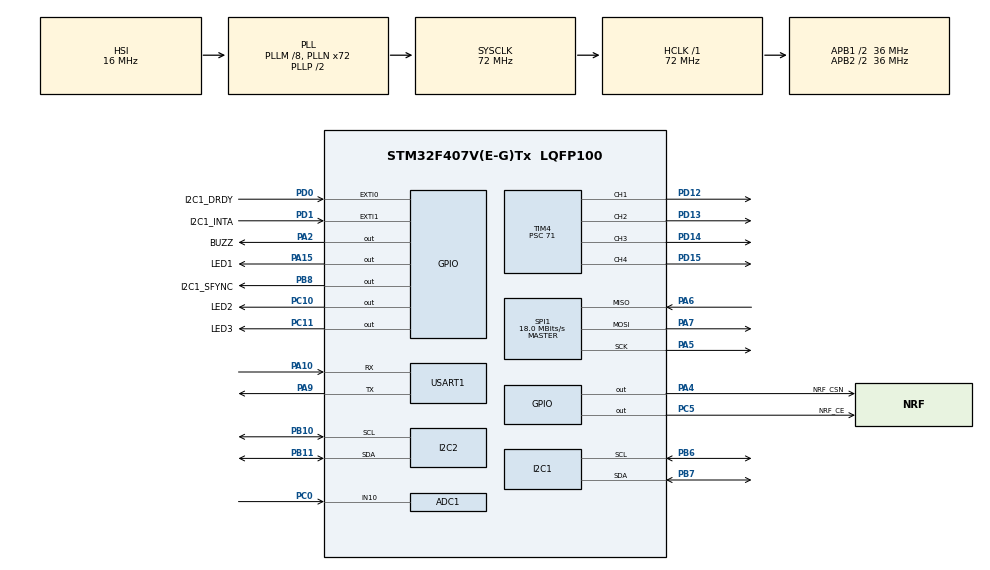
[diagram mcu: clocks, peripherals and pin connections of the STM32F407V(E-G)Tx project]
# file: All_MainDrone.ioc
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ADC1.Channel-0\#ChannelRegularConversion=ADC_CHANNEL_10
ADC1.NbrOfConversionFlag=1
ADC1.Rank-0\#ChannelRegularConversion=1
ADC1.SamplingTime-0\#ChannelRegularConversion=ADC_SAMPLETIME_3CYCLES
ADC1.master=1
I2C1.I2C_Mode=I2C_Fast
I2C2.I2C_Mode=I2C_Fast
Mcu.Family=STM32F4
Mcu.Name=STM32F407V(E-G)Tx
Mcu.Package=LQFP100
NVIC.PriorityGroup=NVIC_PRIORITYGROUP_4
PA10.Mode=Asynchronous
PA10.Signal=USART1_RX
PA13.Mode=Serial_Wire
PA13.Signal=SYS_JTMS-SWDIO
PA14.Mode=Serial_Wire
PA14.Signal=SYS_JTCK-SWCLK
PA15.GPIO_Label=LED1
PA15.Signal=GPIO_Output
PA2.GPIO_Label=BUZZ
PA2.Signal=GPIO_Output
PA4.GPIO_Label=NRF_CSN
PA4.Signal=GPIO_Output
PA5.Mode=Full_Duplex_Master
PA5.Signal=SPI1_SCK
PA6.Mode=Full_Duplex_Master
PA6.Signal=SPI1_MISO
PA7.Mode=Full_Duplex_Master
PA7.Signal=SPI1_MOSI
PA9.Mode=Asynchronous
PA9.Signal=USART1_TX
PB10.Mode=I2C
PB10.Signal=I2C2_SCL
PB11.Mode=I2C
PB11.Signal=I2C2_SDA
PB6.Mode=I2C
PB6.Signal=I2C1_SCL
PB7.Mode=I2C
PB7.Signal=I2C1_SDA
PB8.GPIO_Label=I2C1_SFYNC
PB8.Signal=GPIO_Output
PC0.Signal=ADCx_IN10
PC10.GPIO_Label=LED2
PC10.Signal=GPIO_Output
PC11.GPIO_Label=LED3
PC11.Signal=GPIO_Output
PC5.GPIO_Label=NRF_CE
PC5.Signal=GPIO_Output
PD0.GPIO_Label=I2C1_DRDY
PD0.Signal=GPXTI0
PD1.GPIO_Label=I2C1_INTA
PD1.Signal=GPXTI1
PD12.Signal=S_TIM4_CH1
PD13.Signal=S_TIM4_CH2
PD14.Signal=S_TIM4_CH3
PD15.Signal=S_TIM4_CH4
PH0-OSC_IN.Mode=HSE-External-Oscillator
PH0-OSC_IN.Signal=RCC_OSC_IN
PH1-OSC_OUT.Mode=HSE-External-Oscillator
PH1-OSC_OUT.Signal=RCC_OSC_OUT
ProjectManager.HeapSize=0x200
ProjectManager.StackSize=0x400
ProjectManager.TargetToolchain=STM32CubeIDE
RCC.48MHZClocksFreq_Value=36000000
RCC.AHBFreq_Value=72000000
RCC.APB1CLKDivider=RCC_HCLK_DIV2
RCC.APB1Freq_Value=36000000
RCC.APB1TimFreq_Value=72000000
RCC.APB2CLKDivider=RCC_HCLK_DIV2
RCC.APB2Freq_Value=36000000
RCC.APB2TimFreq_Value=72000000
RCC.CortexFreq_Value=72000000
RCC.HCLKFreq_Value=72000000
RCC.HSE_VALUE=25000000
RCC.HSI_VALUE=16000000
RCC.LSE_VALUE=32768
RCC.PLLM=8
RCC.PLLN=72
RCC.SYSCLKFreq_VALUE=72000000
RCC.SYSCLKSource=RCC_SYSCLKSOURCE_PLLCLK
RCC.VCOOutputFreq_Value=144000000
SH.ADCx_IN10.0=ADC1_IN10,IN10
SH.S_TIM4_CH1.0=TIM4_CH1,PWM Generation1 CH1
SH.S_TIM4_CH2.0=TIM4_CH2,PWM Generation2 CH2
SH.S_TIM4_CH3.0=TIM4_CH3,PWM Generation3 CH3
SH.S_TIM4_CH4.0=TIM4_CH4,PWM Generation4 CH4
SPI1.CalculateBaudRate=18.0 MBits/s
SPI1.Direction=SPI_DIRECTION_2LINES
SPI1.Mode=SPI_MODE_MASTER
SPI1.VirtualType=VM_MASTER
TIM4.Channel-PWM\ Generation1\ CH1=TIM_CHANNEL_1
TIM4.Channel-PWM\ Generation2\ CH2=TIM_CHANNEL_2
TIM4.Channel-PWM\ Generation3\ CH3=TIM_CHANNEL_3
TIM4.Channel-PWM\ Generation4\ CH4=TIM_CHANNEL_4
TIM4.Prescaler=71
USART1.VirtualMode=VM_ASYNC
VP_TIM4_VS_ClockSourceINT.Mode=Internal
board=custom

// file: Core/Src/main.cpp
/* USER CODE BEGIN Header */
/**
  ******************************************************************************
  * @file           : main.c
  * @brief          : Main program body
  ******************************************************************************
  * @attention
  *
  * Copyright (c) 2025 STMicroelectronics.
  * All rights reserved.
  *
  * This software is licensed under terms that can be found in the LICENSE file
  * in the root directory of this software component.
  * If no LICENSE file comes with this software, it is provided AS-IS.
  *
  ******************************************************************************
  */
/* USER CODE END Header */
#include "main.h"

/* USER CODE BEGIN Includes */
#include "NRF24.h"
#include "BMP180.h"

#include "IMU9DOF.h"
#include "math.h"
#include "flash.h"
#include "stdio.h"

#include "barometer.h"
#include "GPS.h"
#include "PIDHorizontal.h"

#include "dwt_stm32_delay.h"
#include "MySerial.h"

/* USER CODE END Includes */

/* USER CODE BEGIN PD */
#define CHANGE_SPEED_MOTOR_FRONT_RIGHT_CCW(speedVal)   	htim4.Instance->CCR1=speedVal
#define CHANGE_SPEED_MOTOR_REAR_RIGHT_CW(speedVal)   	htim4.Instance->CCR2=speedVal
#define CHANGE_SPEED_MOTOR_REAR_LEFT_CCW(speedVal)  	htim4.Instance->CCR3=speedVal
#define CHANGE_SPEED_MOTOR_FRONT_LEFT_CW(speedVal)   	htim4.Instance->CCR4=speedVal
/* USER CODE END PD */

ADC_HandleTypeDef hadc1;

I2C_HandleTypeDef hi2c1;
I2C_HandleTypeDef hi2c2;

SPI_HandleTypeDef hspi1;

TIM_HandleTypeDef htim4;

UART_HandleTypeDef huart1;

/* USER CODE BEGIN PV */

uint8_t RxAddress[] = {0x00,0xDD,0xCC,0xBB,0xAA};
uint8_t RxData[32], stateThrottle=255;
float x=0, DoCao,NhietDo;

int16_t escFrontRightCCW, escRearRightCW, escRearLeftCCW, escFrontLeftCW;
uint16_t roll, pitch, yaw , throttle=1200;

// Các biến liên quan đến trạng thái hoạt động của drone
uint8_t flightMode;
uint8_t waypointSet;
uint8_t takeoffDetected;
uint8_t stateMachine=0;
uint8_t error;

int Start=0, BTN6 =0, BTN5=0, BTN4=0,BTN3=0, BTN2=0, BTN1=0, FirstBTN4=0,FirstBTN3=0, BTNFlightMode=0,FirtsMachine0=0;

uint16_t notificationCount;
// Todo
int16_t Throttle;
float groundPressure;
int16_t takeoffThrottle;
int16_t idleSpeedMotor = 1200;  // tốc độ động cơ không bay
int16_t  manualTakeoffThrottle= 1500;  // Tốc độ cất cánh
uint16_t time =0, time1 =0;

IMU9DOF gy86(&hi2c1,11, 0x080E0000);
Barometer ms5611(&hi2c1);
GPS gpsM8N(LED1_GPIO_Port, LED1_Pin);  // led kiểm tra trạng thái kết nối của GPS
PID_Horizontal pidForHorizontal;

void ReceiveDataFromNRF24L01();
void ReadDataFromBMP180();
void StartStopTakeOff(void);
void ChangeSetting(void);

/* USER CODE END PV */

void SystemClock_Config(void);
static void MX_GPIO_Init(void);
static void MX_TIM4_Init(void);
static void MX_USART1_UART_Init(void);
static void MX_I2C1_Init(void);
static void MX_SPI1_Init(void);
static void MX_ADC1_Init(void);
static void MX_I2C2_Init(void);

/* USER CODE BEGIN 0 */
void ReceiveDataFromNRF24L01()
{
	// bấm BTN5 thì headingLock =1
	// bấm nút BTN1 , flightMode = 2, Bấm BTN6 thì FlightMode =3;
	if(isDataAvailable(2)==1)
	  {
		  NRF24_Receive(RxData);
		  HAL_GPIO_WritePin(LED3_GPIO_Port, LED3_Pin,GPIO_PIN_SET);

		  if(RxData[0]==1) //  Trai Len , Tang Do Cao
			{
			    stateThrottle =1;
				throttle = throttle + 2;
				if(throttle > 1800)  throttle = 1800;
			}
			else if(RxData[0]==0) // Trai Xuong , Giam Do Cao
			{
				stateThrottle=0;
				throttle =throttle - 2;
				if(throttle < 1000)  throttle = 1000;
			}
			else
			{
				stateThrottle = 255;
			}
		    yaw = RxData[1]*100 + RxData[2];
			roll = RxData[3]*100 + RxData[4];
			pitch = RxData[5]*100 + RxData[6];

			if(RxData[7] == 2) flightMode =2;
			else if(RxData[7] == 3) flightMode =3;
			else flightMode=1;

			BTN2 = RxData[8];
			BTN3 = RxData[9];
			BTN4 = RxData[10];
			BTN5 = RxData[11];
	  }
	else
	{
		if(takeoffDetected == 1)
		{
			 throttle =throttle - 0.1;
			 if(throttle < 1300) throttle= 1300;
			 yaw = 1473;
			 roll = 1490;
			 pitch = 1478;
			 stateThrottle = 0;
		}
		 HAL_GPIO_WritePin(LED3_GPIO_Port, LED3_Pin, GPIO_PIN_RESET);

	}
}
void ReadDataFromBMP180()
{
	DoCao = BMP180_GetAlt(0);
//	NhietDo = BMP180_GetTemp();
}

void ChangeSetting()
{
	//TODO nhay den bao hieu
	float adjustableRollPitchValuePgain = pidForHorizontal.roll.Pgain;
	float adjustableRollPitchValueIgain = pidForHorizontal.roll.Igain;
	float adjustableRollPitchValueDgain = pidForHorizontal.roll.Dgain;

	float adjustableYawValuePgain = pidForHorizontal.yaw.Pgain;
	float adjustableYawValueIgain = pidForHorizontal.yaw.Igain;
	float adjustableYawValueDgain = pidForHorizontal.yaw.Dgain;

	float adjustableAltitudeValuePgain = ms5611.pid_Pgain_Altitude;
	float adjustableAltitudeValueIgain = ms5611.pid_Igain_Altitude;
	float adjustableAltitudeValueDgain = ms5611.pid_Dgain_Altitude;

	for(int i=1;i<=5;i++)
	{
		DWT_Delay_us(4000);

			if (roll > 1550) adjustableRollPitchValuePgain += (float)(roll - 1550) * 0.000001;
			if (roll < 1450) adjustableRollPitchValuePgain -= (float)(1450 - roll) * 0.000001;
			if (adjustableRollPitchValuePgain < 0)adjustableRollPitchValuePgain = 0;
			pidForHorizontal.roll.Pgain = adjustableRollPitchValuePgain;
			pidForHorizontal.pitch.Pgain = adjustableRollPitchValuePgain;

			if (pitch > 1550)adjustableRollPitchValueIgain += (float)(pitch - 1550) * 0.000001;
			if (pitch < 1450)adjustableRollPitchValueIgain -= (float)(1450 - pitch) * 0.000001;
			if (adjustableRollPitchValueIgain < 0)adjustableRollPitchValueIgain = 0;
			pidForHorizontal.roll.Igain = adjustableRollPitchValueIgain;
			pidForHorizontal.pitch.Igain = adjustableRollPitchValueIgain;

			if (yaw > 1550)adjustableRollPitchValueDgain += (float)(yaw - 1550) * 0.000001;
			if (yaw < 1450)adjustableRollPitchValueDgain -= (float)(1450 - yaw) * 0.000001;
			if (adjustableRollPitchValueDgain < 0)adjustableRollPitchValueDgain = 0;
			pidForHorizontal.roll.Dgain = adjustableRollPitchValueDgain;
			pidForHorizontal.pitch.Dgain = adjustableRollPitchValueDgain;

			///////////////////////////////////////////////////

			if (roll > 1550) adjustableYawValuePgain += (float)(roll - 1550) * 0.000001;
			if (roll < 1450) adjustableYawValuePgain -= (float)(1450 - roll) * 0.000001;
			if (adjustableYawValuePgain < 0)adjustableYawValuePgain = 0;
			pidForHorizontal.yaw.Pgain = adjustableYawValuePgain;

			if (pitch > 1550)adjustableYawValueIgain += (float)(pitch - 1550) * 0.000001;
			if (pitch < 1450)adjustableYawValueIgain -= (float)(1450 - pitch) * 0.000001;
			if (adjustableYawValueIgain < 0)adjustableYawValueIgain = 0;
			pidForHorizontal.yaw.Igain = adjustableYawValueIgain;

			if (yaw > 1550)adjustableYawValueDgain += (float)(yaw - 1550) * 0.000001;
			if (yaw < 1450)adjustableYawValueDgain -= (float)(1450 - yaw) * 0.000001;
			if (adjustableYawValueDgain < 0)adjustableYawValueDgain = 0;
			pidForHorizontal.yaw.Dgain = adjustableYawValueDgain;

			////////////////////////////////////////////////////

			if (roll > 1550) adjustableAltitudeValuePgain += (float)(roll - 1550) * 0.000001;
			if (roll < 1450) adjustableAltitudeValuePgain -= (float)(1450 - roll) * 0.000001;
			if (adjustableAltitudeValuePgain < 0)adjustableAltitudeValuePgain = 0;
			ms5611.pid_Pgain_Altitude = adjustableAltitudeValuePgain;

			if (pitch > 1550)adjustableAltitudeValueIgain += (float)(pitch - 1550) * 0.000001;
			if (pitch < 1450)adjustableAltitudeValueIgain -= (float)(1450 - pitch) * 0.000001;
			if (adjustableAltitudeValueIgain < 0)adjustableAltitudeValueIgain = 0;
			ms5611.pid_Igain_Altitude = adjustableAltitudeValueIgain;

			if (yaw > 1550)adjustableAltitudeValueDgain += (float)(yaw - 1550) * 0.000001;
			if (yaw < 1450)adjustableAltitudeValueDgain -= (float)(1450 - yaw) * 0.000001;
			if (adjustableAltitudeValueDgain < 0)adjustableAltitudeValueDgain = 0;
			ms5611.pid_Dgain_Altitude = adjustableAltitudeValueDgain;

	}
}

void StartStopTakeOff(void)
{
	//TODO Bước 1 là nhấn nút BTN5 để bật cơ headingLock;
	// Bước 2 nhấn nút BTN4 để bật stateMachine = 1 ;
	// Bước 3 nhấn nút BTN3
	if ((BTN4 == 1) && (FirstBTN4==0))
	{
		FirstBTN4=1;
		stateMachine = 1;
	}

	// Bước 3 nhấn nút BTN3
	if ((stateMachine == 1) && (BTN3 == 1) && (FirstBTN3==0) )
	{
		FirstBTN3=1;
		// Thiết lập throttle value về giá trị idle motor speed
		Throttle = idleSpeedMotor;

		// Giá trị góc Roll và Pitch khởi điểm sẽ được tính toán chỉ dựa trên accel
		gy86.anglePitch = gy86.anglePitchAccel;
		gy86.angleRoll = gy86.angleRollAccel;

		// Lấy giá trị áp suất tại mặt đất, để tham chiếu cho sau này
		groundPressure = ms5611.GetActualPressure();

		gy86.courseLockHeading = gy86.angleYaw;

		gy86.accelTotalVectorAtStart = gy86.accelTotalVector;

		stateMachine = 2;
		gy86.accelAltIntegrated = 0;
		if ((manualTakeoffThrottle > 1400) && (manualTakeoffThrottle < 1600))  // Tốc độ cất cánh 1500
		{
			takeoffThrottle = 300;
			// Thiết lập cờ takeoffDetected để chỉ ra rằng quadcopter đang bay
			takeoffDetected = 1;
			//Reset PID để việc cất cánh được smooth hơn
			pidForHorizontal.roll.ImemValue = 0;
			pidForHorizontal.roll.previousError = 0;
			pidForHorizontal.roll.outputValue = 0;
			pidForHorizontal.pitch.ImemValue = 0;
			pidForHorizontal.pitch.previousError = 0;
			pidForHorizontal.pitch.outputValue = 0;
			pidForHorizontal.yaw.ImemValue = 0;
			pidForHorizontal.yaw.previousError = 0;
			pidForHorizontal.yaw.outputValue = 0;
		}
		else if (manualTakeoffThrottle)
		{                                            //Nếu giá trị không hợp lệ
			error = 5;                                //Error = 5.
			takeoffThrottle = 0;                      //No hover throttle compensation.
			stateMachine = 0;                          //Set the start variable to 0 to stop the motors.
		}
	}

	//Stopping the motors:Bấm nút BTN2.
	if ( BTN2==1)
	{
		stateMachine = 0;                   //Đặt biến khởi động thành 0 để tắt động cơ.
		takeoffDetected = 0;                  //Đặt lại phát hiện tự động cất cánh
	}

}
/* USER CODE END 0 */

int main(void)
{

  /* MCU Configuration--------------------------------------------------------*/

  /* Reset of all peripherals, Initializes the Flash interface and the Systick. */
  HAL_Init();

  /* Configure the system clock */
  SystemClock_Config();

  /* Initialize all configured peripherals */
  MX_GPIO_Init();
  MX_TIM4_Init();
  MX_USART1_UART_Init();
  MX_I2C1_Init();
  MX_SPI1_Init();
  MX_ADC1_Init();
  MX_I2C2_Init();
  /* USER CODE BEGIN 2 */

  gy86.declination = -1.5;
  DWT_Delay_Init();
  BMP180_Start();

  // NRF24L01
  NRF24_Init();
   NRF24_RxMode(RxAddress, 10);
   HAL_Delay(50);  // �?ợi 50ms de on dinh con NRF

   ms5611.SetKgainPID(1.4, 0.2, 0.75, 400);
   gpsM8N.setKgainConstantRoll(2.7, 6.5);
//   pidForHorizontal.setKgainConstantRoll(1.4, 0.04 , 25, 400);
//   pidForHorizontal.setKgainConstantPitch(1.4, 0.04, 25, 400);
//   pidForHorizontal.setKgainConstantYaw(1.4, 0.02 , 0, 400);
   pidForHorizontal.setKgainConstantRoll(1.4, 0.052 , 8.08, 400);
   pidForHorizontal.setKgainConstantPitch(1.4, 0.052, 8.08, 400);
   pidForHorizontal.setKgainConstantYaw(1, 0.02 , 0, 400);

   // Khởi tạo PWM cho việc đi�?u khiển ESC
	HAL_TIM_PWM_Start(&htim4, TIM_CHANNEL_1);
	HAL_TIM_PWM_Start(&htim4, TIM_CHANNEL_2);
	HAL_TIM_PWM_Start(&htim4, TIM_CHANNEL_3);
	HAL_TIM_PWM_Start(&htim4, TIM_CHANNEL_4);

	CHANGE_SPEED_MOTOR_FRONT_RIGHT_CCW(1000);  // 1580
	CHANGE_SPEED_MOTOR_REAR_RIGHT_CW(1000);		// 1580
	CHANGE_SPEED_MOTOR_REAR_LEFT_CCW(1000);		// 1580
	CHANGE_SPEED_MOTOR_FRONT_LEFT_CW(1000);		// 1580

	// Kiểm tra các cảm biến
	if (((ms5611.IsReadyToInterface() != BAROMETER_Result_Ok))||(gy86.IsReadyToInterfaceMPU6050() != IMU9DOF_Result_Ok) ||(gy86.IsReadyToInterfaceHMC5883L() != IMU9DOF_Result_Ok)) //(ms5611.IsReadyToInterface() != BAROMETER_Result_Ok)
	{
		HAL_GPIO_WritePin(BUZZ_GPIO_Port, BUZZ_Pin,GPIO_PIN_SET);
		for(;;)
		{
			// Reset Lại Drone ( Cảm biến bị lỗi )
		}
	}
//	 Init các cảm biến
	if ( (gy86.Init() != HAL_OK) || (ms5611.Init() != HAL_OK) || (gpsM8N.Init() != HAL_OK) )   //  || (gpsM8N.Init() != HAL_OK)
	  {
		HAL_GPIO_WritePin(BUZZ_GPIO_Port, BUZZ_Pin,GPIO_PIN_SET);
		for(;;)
		{
			// Reset lại Drone
		}
	  }

	// On dinh bo dem cho barometer, khong nhan gia tri sai ban dau (truoc khi vo chuong trinh chinh
	for (int i = 0; i < 100 ; i++)
	{
		ms5611.ReadAndCalculatePIDBarometer(flightMode, takeoffDetected,stateThrottle);
		HAL_Delay(4);
	}

	ms5611.SetGroundPressure();

	gy86.ReadRawAllParameter();
	gy86.ReadCompass();
	gy86.angleYaw = gy86.actualCompassHeading;

	gy86.CalibGyro();

//	// �?ưa gia tri accel vao bo dem de on dinh truoc khi vao chuong trinh chinh
	for (int i = 0; i <= 24; i++)
	{
		gy86.shortAverageAccel_Z[i] = gy86.accel.z;
	}
	for (int i = 0; i <= 49; i++)
	{
		gy86.longAverageAccel_Z[i] = gy86.accel.z;
	}

	gy86.shortTotalAccel_Z = gy86.accel.z * 25;
	gy86.longTotalAccel_Z = gy86.accel.z * 50;

//	todo while 1
  /* USER CODE END 2 */

  /* Infinite loop */
  /* USER CODE BEGIN WHILE */
  while (1)
  {

	  time = HAL_GetTick();

	  // Nhận dữ liệu NRF24
	  ReceiveDataFromNRF24L01();
	  ReadDataFromBMP180();

	  if ((stateMachine == 0)&& (FirtsMachine0 == 0)  ) // Trạng thái khởi động
	  {
		  FirtsMachine0 = 1;

		  gy86.CalibCompass();  // hiệu chỉnh la bàn

		  gy86.CalibLevel(&error);  // Hiệu chỉnh cân bằng ban đầu

		  ChangeSetting();   // change setting

		  HAL_GPIO_WritePin(LED2_GPIO_Port, LED2_Pin, GPIO_PIN_SET);

		  gy86.headingLock = 0; // Xóa cờ heading Lock

	  }

	  if(BTN5 == 1 )  // Bấm BTN5
	  {
//		  gy86.headingLock = 1;
	  }

	  gy86.ReadGyroAccel(); // tính toán Gyro và Accel
	  gy86.ReadCompass(); // Tính toán la bàn số

	  ms5611.ReadAndCalculatePIDBarometer(flightMode, takeoffDetected, stateThrottle);  // Đọc giá trị áp xuất và tính toán PID ổn định độ cao

	  gpsM8N.ReadGPS(stateMachine, &error, &flightMode, gy86.angleYaw);    // Đọc gia strij GPS và tính toán PID ổn định vị trí

	  gy86.CalculateGyroInput();  // tính toán gái trị đầu vào feedback cho bộ điều khiển PID, ổn định theo các phương
	  gy86.ReadAngleRPY();  // tính toán gọc đo Roll, Pitch, Yaw

	  gy86.setLevelAdjust(0, 0);  // hiệu chỉnh cân bằng ban đầu khi khởi động
	  gy86.VerticalAccelerationCalculations();  // Tính toán gia tốc

	  // Thiết lập lại setpoint cho đầu vào bộ PID ổn định roll pitch
	 pidForHorizontal.roll.setPointBase = roll;
	 pidForHorizontal.pitch.setPointBase = pitch;
	 pidForHorizontal.yaw.setPointBase = yaw;
	 pidForHorizontal.throttleSetpoint = throttle;

	 pidForHorizontal.roll.inputValue = gy86.gyro.rollInput;
	 pidForHorizontal.pitch.inputValue = gy86.gyro.pitchInput;
	 pidForHorizontal.yaw.inputValue = gy86.gyro.yawInput;

//	 if (gy86.headingLock == 1)  // Nếu bật headingLock thì tính tóan lại setpoint của roll pitch
//	  {
//		float headingLockCourseDeviation = gy86.CourseDeviation(gy86.angleYaw, gy86.courseLockHeading);
//		pidForHorizontal.roll.setPointBase = 1500 + ((float)(roll - 1500) * cos(headingLockCourseDeviation * 0.017453)) + ((float)(pitch - 1500) * cos((headingLockCourseDeviation - 90) * 0.017453));
//		pidForHorizontal.pitch.setPointBase = 1500 + ((float)(pitch - 1500) * cos(headingLockCourseDeviation * 0.017453)) + ((float)(roll - 1500) * cos((headingLockCourseDeviation + 90) * 0.017453));
//	  }

	 if (flightMode == 3 && waypointSet == 1)  // có thêm GPS
	 {
		pidForHorizontal.roll.setPointBase += gpsM8N.gpsRollAdjust;
		pidForHorizontal.pitch.setPointBase += gpsM8N.gpsPitchAdjust;
	 }

	 if (pidForHorizontal.roll.setPointBase > 2000)
	 {
		pidForHorizontal.roll.setPointBase = 2000;
	 }
	 if (pidForHorizontal.roll.setPointBase < 1000)
	 {
		pidForHorizontal.roll.setPointBase = 1000;
	 }
	 if (pidForHorizontal.pitch.setPointBase > 2000)
	 {
		pidForHorizontal.pitch.setPointBase = 2000;
	 }
	 if (pidForHorizontal.pitch.setPointBase < 1000)
	 {
		pidForHorizontal.pitch.setPointBase = 1000;
	 }

	 pidForHorizontal.setLevelAdjust(gy86.rollLevelAdjust, gy86.pitchLevelAdjust);
	 pidForHorizontal.calculatePID();

	 StartStopTakeOff();

	 // độ cao
	 if (takeoffDetected == 1 && stateMachine == 2)   // Nếu Drone được khởi động và đang bay
	 {
		Throttle = throttle + 0 ;  // takeoffThrottle=300   The base throttle is the receiver throttle tay cam + the detected take-off throttle.
		 if (flightMode == 2)
		{                                                          //nếu chế dộ độ cao đang hoạt động
			Throttle = throttle  + ms5611.GetPidOutputAltitude();
		}
	 }

	 if (stateMachine == 2) // motors đã đc khởi động
	 {
		if (Throttle > 1800)
		{
			Throttle = 1800;                                          //Giới hạn lại tốc độ
		}
		escFrontRightCCW = Throttle - pidForHorizontal.pitch.outputValue + pidForHorizontal.roll.outputValue - pidForHorizontal.yaw.outputValue;
		escRearRightCW = Throttle + pidForHorizontal.pitch.outputValue + pidForHorizontal.roll.outputValue + pidForHorizontal.yaw.outputValue;
		escRearLeftCCW = Throttle + pidForHorizontal.pitch.outputValue - pidForHorizontal.roll.outputValue - pidForHorizontal.yaw.outputValue;
		escFrontLeftCW = Throttle - pidForHorizontal.pitch.outputValue - pidForHorizontal.roll.outputValue + pidForHorizontal.yaw.outputValue;

		if (escFrontRightCCW < idleSpeedMotor)
		{
			escFrontRightCCW = idleSpeedMotor;                        //Keep the motors running.
		}
		if (escRearRightCW < idleSpeedMotor)
		{
			escRearRightCW = idleSpeedMotor;                        //Keep the motors running.
		}
		if (escRearLeftCCW < idleSpeedMotor)
		{
			escRearLeftCCW = idleSpeedMotor;                        //Keep the motors running.
		}
		if (escFrontLeftCW < idleSpeedMotor)
		{
			escFrontLeftCW = idleSpeedMotor;                        //Keep the motors running.
		}

		if (escFrontRightCCW > 1800)
		{
			escFrontRightCCW = 1800;                                                 //Limit the esc-1 pulse to 2000us.
		}
		if (escRearRightCW > 1800)
		{
			escRearRightCW = 1800;                                                 //Limit the esc-2 pulse to 2000us.
		}
		if (escRearLeftCCW > 1800)
		{
			escRearLeftCCW = 1800;                                                 //Limit the esc-3 pulse to 2000us.
		}
		if (escFrontLeftCW > 1800)
		{
			escFrontLeftCW = 1800;                                                 //Limit the esc-4 pulse to 2000us.
		}
	}
	else
	{
		escFrontRightCCW = 1000;                                                                  //If start is not 2 keep a 1000us pulse for ess-1.
		escRearRightCW = 1000;                                                                  //If start is not 2 keep a 1000us pulse for ess-2.
		escRearLeftCCW = 1000;                                                                  //If start is not 2 keep a 1000us pulse for ess-3.
		escFrontLeftCW = 1000;                                                                  //If start is not 2 keep a 1000us pulse for ess-4.
	}

	 if(stateMachine == 1)  // mới khởi động thì cho quay nhẹ
	 {
		 Throttle = 1200;
		 escFrontRightCCW = Throttle;
		 escRearRightCW = Throttle;
		 escRearLeftCCW = Throttle;
		 escFrontLeftCW = Throttle;
	 }

	 CHANGE_SPEED_MOTOR_FRONT_LEFT_CW(escFrontLeftCW + 375);
	 CHANGE_SPEED_MOTOR_FRONT_RIGHT_CCW(escFrontRightCCW + 375);
	 CHANGE_SPEED_MOTOR_REAR_LEFT_CCW(escRearLeftCCW + 375 );
	 CHANGE_SPEED_MOTOR_REAR_RIGHT_CW(escRearRightCW + 375);

	 time1 = (HAL_GetTick()-time);
    /* USER CODE END WHILE */

  }
}

void SystemClock_Config(void)
{
  RCC_OscInitTypeDef RCC_OscInitStruct = {0};
  RCC_ClkInitTypeDef RCC_ClkInitStruct = {0};

  /** Configure the main internal regulator output voltage
  */
  __HAL_RCC_PWR_CLK_ENABLE();
  __HAL_PWR_VOLTAGESCALING_CONFIG(PWR_REGULATOR_VOLTAGE_SCALE1);

  /** Initializes the RCC Oscillators according to the specified parameters
  * in the RCC_OscInitTypeDef structure.
  */
  RCC_OscInitStruct.OscillatorType = RCC_OSCILLATORTYPE_HSI;
  RCC_OscInitStruct.HSIState = RCC_HSI_ON;
  RCC_OscInitStruct.HSICalibrationValue = RCC_HSICALIBRATION_DEFAULT;
  RCC_OscInitStruct.PLL.PLLState = RCC_PLL_ON;
  RCC_OscInitStruct.PLL.PLLSource = RCC_PLLSOURCE_HSI;
  RCC_OscInitStruct.PLL.PLLM = 8;
  RCC_OscInitStruct.PLL.PLLN = 72;
  RCC_OscInitStruct.PLL.PLLP = RCC_PLLP_DIV2;
  RCC_OscInitStruct.PLL.PLLQ = 4;
  if (HAL_RCC_OscConfig(&RCC_OscInitStruct) != HAL_OK)
  {
    Error_Handler();
  }

  /** Initializes the CPU, AHB and APB buses clocks
  */
  RCC_ClkInitStruct.ClockType = RCC_CLOCKTYPE_HCLK|RCC_CLOCKTYPE_SYSCLK
                              |RCC_CLOCKTYPE_PCLK1|RCC_CLOCKTYPE_PCLK2;
  RCC_ClkInitStruct.SYSCLKSource = RCC_SYSCLKSOURCE_PLLCLK;
  RCC_ClkInitStruct.AHBCLKDivider = RCC_SYSCLK_DIV1;
  RCC_ClkInitStruct.APB1CLKDivider = RCC_HCLK_DIV2;
  RCC_ClkInitStruct.APB2CLKDivider = RCC_HCLK_DIV2;

  if (HAL_RCC_ClockConfig(&RCC_ClkInitStruct, FLASH_LATENCY_2) != HAL_OK)
  {
    Error_Handler();
  }
}

static void MX_ADC1_Init(void)
{

  ADC_ChannelConfTypeDef sConfig = {0};

  /** Configure the global features of the ADC (Clock, Resolution, Data Alignment and number of conversion)
  */
  hadc1.Instance = ADC1;
  hadc1.Init.ClockPrescaler = ADC_CLOCK_SYNC_PCLK_DIV2;
  hadc1.Init.Resolution = ADC_RESOLUTION_12B;
  hadc1.Init.ScanConvMode = DISABLE;
  hadc1.Init.ContinuousConvMode = DISABLE;
  hadc1.Init.DiscontinuousConvMode = DISABLE;
  hadc1.Init.ExternalTrigConvEdge = ADC_EXTERNALTRIGCONVEDGE_NONE;
  hadc1.Init.ExternalTrigConv = ADC_SOFTWARE_START;
  hadc1.Init.DataAlign = ADC_DATAALIGN_RIGHT;
  hadc1.Init.NbrOfConversion = 1;
  hadc1.Init.DMAContinuousRequests = DISABLE;
  hadc1.Init.EOCSelection = ADC_EOC_SINGLE_CONV;
  if (HAL_ADC_Init(&hadc1) != HAL_OK)
  {
    Error_Handler();
  }

  /** Configure for the selected ADC regular channel its corresponding rank in the sequencer and its sample time.
  */
  sConfig.Channel = ADC_CHANNEL_10;
  sConfig.Rank = 1;
  sConfig.SamplingTime = ADC_SAMPLETIME_3CYCLES;
  if (HAL_ADC_ConfigChannel(&hadc1, &sConfig) != HAL_OK)
  {
    Error_Handler();
  }

}

static void MX_I2C1_Init(void)
{

  hi2c1.Instance = I2C1;
  hi2c1.Init.ClockSpeed = 400000;
  hi2c1.Init.DutyCycle = I2C_DUTYCYCLE_2;
  hi2c1.Init.OwnAddress1 = 0;
  hi2c1.Init.AddressingMode = I2C_ADDRESSINGMODE_7BIT;
  hi2c1.Init.DualAddressMode = I2C_DUALADDRESS_DISABLE;
  hi2c1.Init.OwnAddress2 = 0;
  hi2c1.Init.GeneralCallMode = I2C_GENERALCALL_DISABLE;
  hi2c1.Init.NoStretchMode = I2C_NOSTRETCH_DISABLE;
  if (HAL_I2C_Init(&hi2c1) != HAL_OK)
  {
    Error_Handler();
  }

}

static void MX_I2C2_Init(void)
{

  hi2c2.Instance = I2C2;
  hi2c2.Init.ClockSpeed = 400000;
  hi2c2.Init.DutyCycle = I2C_DUTYCYCLE_2;
  hi2c2.Init.OwnAddress1 = 0;
  hi2c2.Init.AddressingMode = I2C_ADDRESSINGMODE_7BIT;
  hi2c2.Init.DualAddressMode = I2C_DUALADDRESS_DISABLE;
  hi2c2.Init.OwnAddress2 = 0;
  hi2c2.Init.GeneralCallMode = I2C_GENERALCALL_DISABLE;
  hi2c2.Init.NoStretchMode = I2C_NOSTRETCH_DISABLE;
  if (HAL_I2C_Init(&hi2c2) != HAL_OK)
  {
    Error_Handler();
  }

}

static void MX_SPI1_Init(void)
{

  /* SPI1 parameter configuration*/
  hspi1.Instance = SPI1;
  hspi1.Init.Mode = SPI_MODE_MASTER;
  hspi1.Init.Direction = SPI_DIRECTION_2LINES;
  hspi1.Init.DataSize = SPI_DATASIZE_8BIT;
  hspi1.Init.CLKPolarity = SPI_POLARITY_LOW;
  hspi1.Init.CLKPhase = SPI_PHASE_1EDGE;
  hspi1.Init.NSS = SPI_NSS_SOFT;
  hspi1.Init.BaudRatePrescaler = SPI_BAUDRATEPRESCALER_2;
  hspi1.Init.FirstBit = SPI_FIRSTBIT_MSB;
  hspi1.Init.TIMode = SPI_TIMODE_DISABLE;
  hspi1.Init.CRCCalculation = SPI_CRCCALCULATION_DISABLE;
  hspi1.Init.CRCPolynomial = 10;
  if (HAL_SPI_Init(&hspi1) != HAL_OK)
  {
    Error_Handler();
  }

}

static void MX_TIM4_Init(void)
{

  TIM_ClockConfigTypeDef sClockSourceConfig = {0};
  TIM_MasterConfigTypeDef sMasterConfig = {0};
  TIM_OC_InitTypeDef sConfigOC = {0};

  htim4.Instance = TIM4;
  htim4.Init.Prescaler = 71;
  htim4.Init.CounterMode = TIM_COUNTERMODE_UP;
  htim4.Init.Period = 65535;
  htim4.Init.ClockDivision = TIM_CLOCKDIVISION_DIV1;
  htim4.Init.AutoReloadPreload = TIM_AUTORELOAD_PRELOAD_DISABLE;
  if (HAL_TIM_Base_Init(&htim4) != HAL_OK)
  {
    Error_Handler();
  }
  sClockSourceConfig.ClockSource = TIM_CLOCKSOURCE_INTERNAL;
  if (HAL_TIM_ConfigClockSource(&htim4, &sClockSourceConfig) != HAL_OK)
  {
    Error_Handler();
  }
  if (HAL_TIM_PWM_Init(&htim4) != HAL_OK)
  {
    Error_Handler();
  }
  sMasterConfig.MasterOutputTrigger = TIM_TRGO_RESET;
  sMasterConfig.MasterSlaveMode = TIM_MASTERSLAVEMODE_DISABLE;
  if (HAL_TIMEx_MasterConfigSynchronization(&htim4, &sMasterConfig) != HAL_OK)
  {
    Error_Handler();
  }
  sConfigOC.OCMode = TIM_OCMODE_PWM1;
  sConfigOC.Pulse = 0;
  sConfigOC.OCPolarity = TIM_OCPOLARITY_HIGH;
  sConfigOC.OCFastMode = TIM_OCFAST_DISABLE;
  if (HAL_TIM_PWM_ConfigChannel(&htim4, &sConfigOC, TIM_CHANNEL_1) != HAL_OK)
  {
    Error_Handler();
  }
  if (HAL_TIM_PWM_ConfigChannel(&htim4, &sConfigOC, TIM_CHANNEL_2) != HAL_OK)
  {
    Error_Handler();
  }
  if (HAL_TIM_PWM_ConfigChannel(&htim4, &sConfigOC, TIM_CHANNEL_3) != HAL_OK)
  {
    Error_Handler();
  }
  if (HAL_TIM_PWM_ConfigChannel(&htim4, &sConfigOC, TIM_CHANNEL_4) != HAL_OK)
  {
    Error_Handler();
  }
  HAL_TIM_MspPostInit(&htim4);

}

static void MX_USART1_UART_Init(void)
{

  huart1.Instance = USART1;
  huart1.Init.BaudRate = 115200;
  huart1.Init.WordLength = UART_WORDLENGTH_8B;
  huart1.Init.StopBits = UART_STOPBITS_1;
  huart1.Init.Parity = UART_PARITY_NONE;
  huart1.Init.Mode = UART_MODE_TX_RX;
  huart1.Init.HwFlowCtl = UART_HWCONTROL_NONE;
  huart1.Init.OverSampling = UART_OVERSAMPLING_16;
  if (HAL_UART_Init(&huart1) != HAL_OK)
  {
    Error_Handler();
  }

}

static void MX_GPIO_Init(void)
{
  GPIO_InitTypeDef GPIO_InitStruct = {0};

  /* GPIO Ports Clock Enable */
  __HAL_RCC_GPIOH_CLK_ENABLE();
  __HAL_RCC_GPIOC_CLK_ENABLE();
  __HAL_RCC_GPIOA_CLK_ENABLE();
  __HAL_RCC_GPIOB_CLK_ENABLE();
  __HAL_RCC_GPIOD_CLK_ENABLE();

  /*Configure GPIO pin Output Level */
  HAL_GPIO_WritePin(GPIOA, BUZZ_Pin|NRF_CSN_Pin|LED1_Pin, GPIO_PIN_RESET);

  /*Configure GPIO pin Output Level */
  HAL_GPIO_WritePin(GPIOC, NRF_CE_Pin|LED2_Pin|LED3_Pin, GPIO_PIN_RESET);

  /*Configure GPIO pin Output Level */
  HAL_GPIO_WritePin(I2C1_SFYNC_GPIO_Port, I2C1_SFYNC_Pin, GPIO_PIN_RESET);

  /*Configure GPIO pins : BUZZ_Pin NRF_CSN_Pin LED1_Pin */
  GPIO_InitStruct.Pin = BUZZ_Pin|NRF_CSN_Pin|LED1_Pin;
  GPIO_InitStruct.Mode = GPIO_MODE_OUTPUT_PP;
  GPIO_InitStruct.Pull = GPIO_NOPULL;
  GPIO_InitStruct.Speed = GPIO_SPEED_FREQ_LOW;
  HAL_GPIO_Init(GPIOA, &GPIO_InitStruct);

  /*Configure GPIO pins : NRF_CE_Pin LED2_Pin LED3_Pin */
  GPIO_InitStruct.Pin = NRF_CE_Pin|LED2_Pin|LED3_Pin;
  GPIO_InitStruct.Mode = GPIO_MODE_OUTPUT_PP;
  GPIO_InitStruct.Pull = GPIO_NOPULL;
  GPIO_InitStruct.Speed = GPIO_SPEED_FREQ_LOW;
  HAL_GPIO_Init(GPIOC, &GPIO_InitStruct);

  /*Configure GPIO pins : I2C1_DRDY_Pin I2C1_INTA_Pin */
  GPIO_InitStruct.Pin = I2C1_DRDY_Pin|I2C1_INTA_Pin;
  GPIO_InitStruct.Mode = GPIO_MODE_IT_RISING;
  GPIO_InitStruct.Pull = GPIO_NOPULL;
  HAL_GPIO_Init(GPIOD, &GPIO_InitStruct);

  /*Configure GPIO pin : I2C1_SFYNC_Pin */
  GPIO_InitStruct.Pin = I2C1_SFYNC_Pin;
  GPIO_InitStruct.Mode = GPIO_MODE_OUTPUT_PP;
  GPIO_InitStruct.Pull = GPIO_NOPULL;
  GPIO_InitStruct.Speed = GPIO_SPEED_FREQ_LOW;
  HAL_GPIO_Init(I2C1_SFYNC_GPIO_Port, &GPIO_InitStruct);

}

void Error_Handler(void)
{
  __disable_irq();
  while (1)
  {
  }
}
